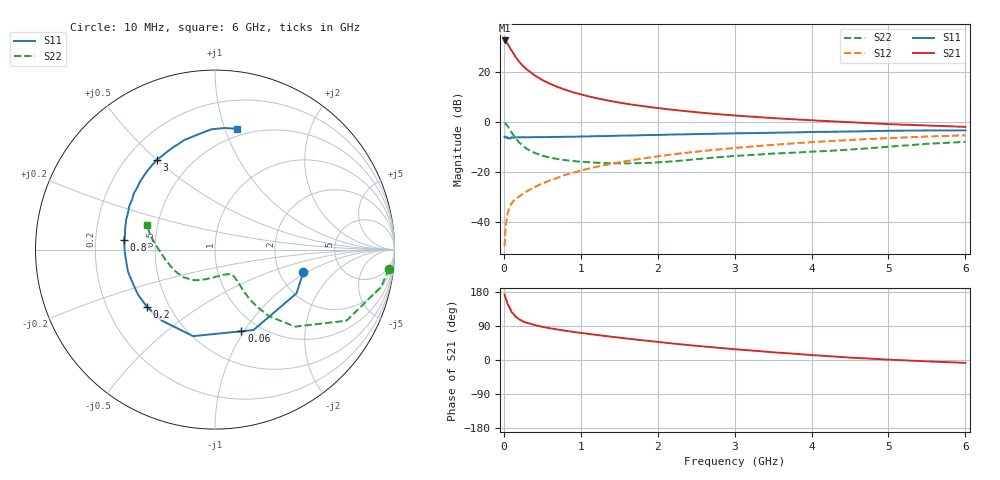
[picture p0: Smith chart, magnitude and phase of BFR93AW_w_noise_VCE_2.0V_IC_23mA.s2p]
! (c) 2017  Infineon Technologies AG, Munich
! Infineon Technologies  Discrete & RF Semiconductors
! BFR93AW
! VCE =  2.0 V,  IC =  23 mA
! Common Emitter S-Parameters:  Jan 2017
# GHz  S  MA  R  50
!  f  S11  S21  S12  S22
! GHz  MAG  ANG  MAG  ANG  MAG  ANG  MAG  ANG
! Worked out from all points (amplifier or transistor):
!   77 points, 10 MHz to 6 GHz, reference 50 ohm
!   highest |S21| = 32.9 dB at 10 MHz (marker M1)
!   |S21| within 3 dB of that: start of sweep to 79.99 MHz
!   unconditionally stable (mu >= 1): 561.3 MHz to 2.178 GHz
!   at 130 MHz: K = 0.50, MSG = 29.5 dB, |S12| = -31.6 dB
!   at 2.2 GHz: K = 1.00, MSG = 9.0 dB, |S12| = -13.0 dB
!   at 6 GHz: K = 0.91, MSG = 1.7 dB, |S12| = -5.3 dB
!   lowest NFmin = 1.60 dB at 450 MHz
!   S11 on the Smith chart (normalised r, x): 10 MHz: 2.71, -0.92; 60 MHz: 0.83, -0.97; 200 MHz: 0.38, -0.32; 800 MHz: 0.33, +0.05; 3 GHz: 0.32, +0.50; 6 GHz: 0.43, +1.10
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0.01  0.5082 -14.4  43.97 172.6  0.0032 85.7  0.974 -6.3
0.02  0.5151 -28.2  43.38 165.6  0.0065 84.0  0.9492 -12.6
0.05  0.4968 -64.4  37.62 146.9  0.0149 67.3  0.8327 -28.4
0.06  0.4781 -72.1  35.33 143.8  0.0165 65.1  0.7865 -30.8
0.1  0.4974 -104.2  27.63 126.5  0.0231 59.4  0.6205 -43.8
0.15  0.494 -126.7  20.79 114.8  0.0285 56.3  0.4774 -51.0
0.2  0.4955 -140.2  16.4 107.3  0.0318 57.3  0.389 -53.9
0.25  0.4969 -149.7  13.48 101.9  0.0364 58.1  0.331 -55.1
0.3  0.4948 -156.4  11.4 98.1  0.0405 59.2  0.2899 -55.4
0.4  0.5003 -165.8  8.731 92.1  0.0492 63.3  0.2402 -55.0
0.5  0.4992 -172.5  7.037 87.6  0.0583 64.8  0.2116 -54.8
0.6  0.5025 -177.8  5.919 83.8  0.0673 65.7  0.193 -54.6
0.7  0.5049 177.8  5.093 80.5  0.0764 67.5  0.1807 -54.9
0.8  0.5086 174.0  4.48 77.2  0.0872 68.1  0.1725 -55.8
1.1  0.5171 164.2  3.306 69.0  0.1155 67.9  0.1567 -61.1
1.5  0.5344 153.8  2.474 59.1  0.1555 66.1  0.148 -73.3
2.1  0.5579 140.1  1.843 45.6  0.2151 61.6  0.1589 -96.9
3  0.5958 122.7  1.361 28.4  0.3026 53.2  0.2089 -126.0
3.1  0.5979 120.9  1.328 26.9  0.3118 52.1  0.213 -128.8
4.1  0.6359 104.2  1.07 11.8  0.4038 41.4  0.2585 -156.0
5.1  0.672 90.3  0.9 0.1  0.484 30.1  0.3287 175.9
6  0.6837 79.9  0.805 -7.5  0.5437 20.1  0.4016 160.2
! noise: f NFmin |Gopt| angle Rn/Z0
0.45  1.6  0.15  166  0.15
0.9  1.88  0.24  177  0.16
1.9  2.89  0.48  -138  0.24
2.4  3.53  0.55  -126  0.48
